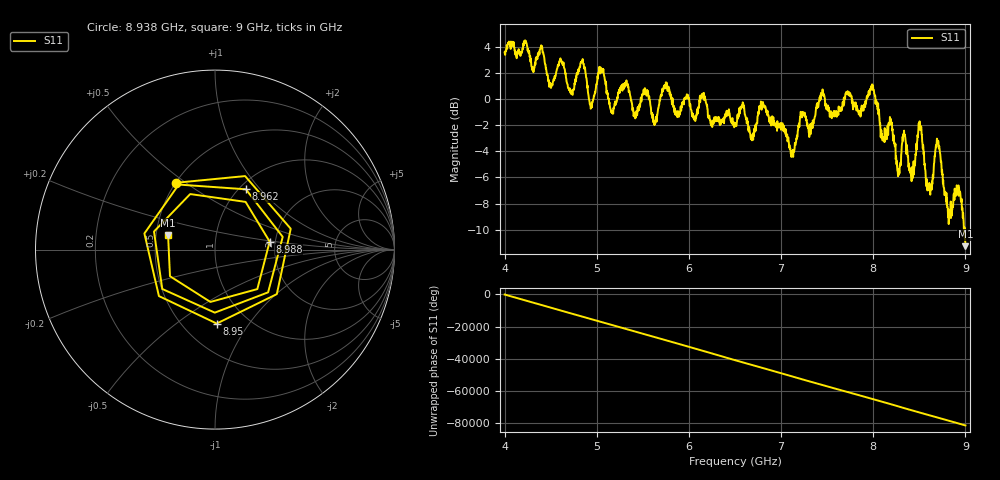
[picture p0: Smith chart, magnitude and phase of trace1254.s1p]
! Created with skrf 1.8.0 (http://scikit-rf.org).
# Hz S RI R 50.0
!freq ReS11 ImS11
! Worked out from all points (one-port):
!   1601 points, 4 GHz to 9 GHz, reference 50 ohm
!   lowest |S11| = -11.3 dB at 9 GHz (marker M1), VSWR 1.75, Z = 29 + j4.99 ohm
!   |S11| at or under -10 dB: 8.983933 GHz to 8.989734 GHz (5.801 MHz wide, 0.0645 % of centre); 8.991608 GHz to end of sweep
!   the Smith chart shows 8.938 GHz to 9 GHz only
!   S11 on the Smith chart (normalised r, x): 8.938 GHz: 0.50, +0.46; 8.95 GHz: 0.72, -0.72; 8.962 GHz: 1.07, +0.84; 8.988 GHz: 1.86, +0.18; 9 GHz: 0.58, +0.10
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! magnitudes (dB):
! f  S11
! 4 GHz  3.6
! 4.497 GHz  1.2
! 4.625 GHz  2.8
! 4.722 GHz  0.4
! 4.847 GHz  3.1
! 4.938 GHz  -0.7
! 5.047 GHz  2.0
! 5.159 GHz  -1.0
! 5.25 GHz  0.7
! 5.875 GHz  -1.4
! 6.5 GHz  -1.9
! 6.806 GHz  -0.4
! 7.125 GHz  -4.4
! 7.441 GHz  0.3
! 7.75 GHz  0.5
! 7.991 GHz  0.7
! 8.269 GHz  -5.9
! 8.375 GHz  -4.4
! 8.431 GHz  -5.5
! 8.506 GHz  -2.0
! 8.597 GHz  -7.0
! 8.7 GHz  -3.2
! 8.825 GHz  -9.1
! 8.938 GHz  -7.3
! 8.95 GHz  -7.7
! 8.962 GHz  -8.5
! 8.988 GHz  -10.2
! 9 GHz  -11.3
